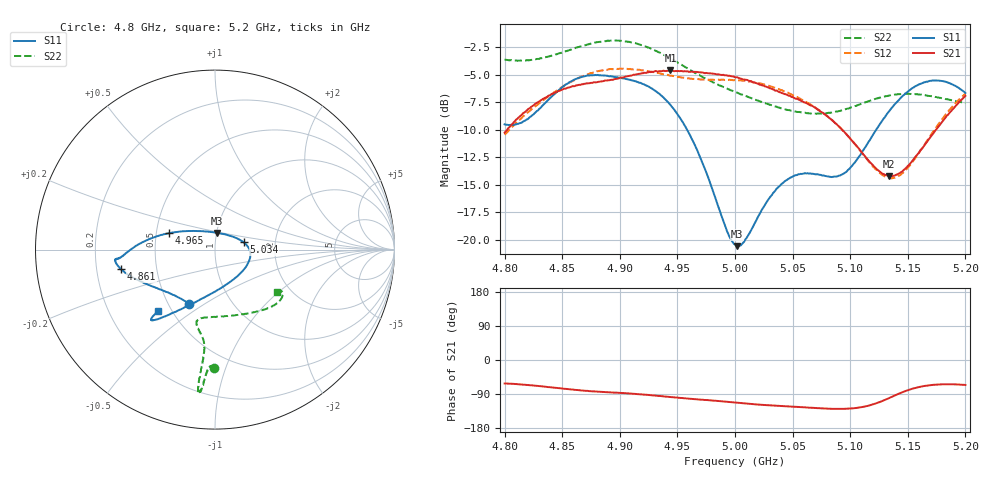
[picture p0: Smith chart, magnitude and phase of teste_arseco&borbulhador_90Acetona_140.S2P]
! Network Analyzer HP8722D
! Hewlett-Packard
! Data name: Linha & Wilkinson
! Saver's name: Rodrigo Anjos
! Comments: Teste da utilização de aquisição
! continua pelo VNA HP8722D
! Time and date: 17/4/2025 12:13
!  Frequency  S11  S21  S12  S22
# HZ  S  MA R 50
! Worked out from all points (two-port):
!   401 points, 4.8 GHz to 5.2 GHz, reference 50 ohm
!   highest |S21| = -4.63 dB at 4.944 GHz (marker M1); lowest = -14.2 dB at 5.134 GHz (marker M2)
!   |S21| within 3 dB of the highest: 4.827 GHz to 5.063 GHz (235.6 MHz wide, 4.77 % of centre); 5.193448 GHz to end of sweep
!   lowest |S11| = -20.6 dB at 5.002 GHz (marker M3), VSWR 1.21, Z = 50.3 + j9.44 ohm
!   |S11| at or under -10 dB: 4.958 GHz to 5.123 GHz (164.2 MHz wide, 3.26 % of centre)
!   |S22| runs from -8.6 to -1.9 dB; largest |S21 - S12| = 0.88
!   S11 on the Smith chart (normalised r, x): 4.8 GHz: 0.63, -0.43; 4.861 GHz: 0.31, -0.09; 4.965 GHz: 0.59, +0.12; 5.034 GHz: 1.38, +0.11; 5.2 GHz: 0.42, -0.37
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4.8e9  0.3344 -116.1  0.3064 -61.9  0.3005 -176.2  0.6574 -90.7
4.819e9  0.3514 -136.2  0.386 -65.8  0.3742 -175.3  0.6526 -92.3
4.861e9  0.5351 -168.1  0.4987 -78.8  0.5328 -178.7  0.7403 -94.9
4.867e9  0.5483 -170.5  0.5088 -80.5  0.5498 -179.7  0.7578 -95.0
4.899e9  0.5443 -174.8  0.5398 -86.7  0.5968 173.9  0.8009 -96.5
4.934e9  0.4615 179.2  0.5822 -94.9  0.5709 170.5  0.7086 -96.8
4.944e9  0.4094 174.5  0.5868 -97.7  0.5558 170.7  0.6664 -96.6
4.965e9  0.2706 160.2  0.5786 -103.4  0.5359 172.6  0.5734 -96.0
4.993e9  0.1098 114.1  0.5578 -110.5  0.5322 174.8  0.486 -98.7
5e9  0.09536 89.9  0.5464 -112.4  0.5312 174.8  0.4683 -100.1
5.002e9  0.09377 82.5  0.5464 -112.9  0.5284 174.8  0.4654 -100.7
5.009e9  0.1006 59.0  0.5332 -114.8  0.5267 174.6  0.4494 -102.0
5.034e9  0.1653 14.2  0.4792 -120.5  0.4912 173.5  0.4044 -103.9
5.05e9  0.1937 -1.4  0.4445 -123.2  0.4536 173.0  0.3846 -99.2
5.067e9  0.1997 -19.6  0.4057 -126.1  0.4075 172.6  0.376 -89.7
5.097e9  0.2044 -72.4  0.3005 -128.6  0.3003 174.6  0.3932 -66.3
5.121e9  0.3067 -109.6  0.2143 -116.1  0.2124 -170.9  0.4348 -49.8
5.134e9  0.3847 -120.0  0.195 -100.1  0.1912 -153.1  0.4523 -43.3
5.148e9  0.4618 -126.6  0.2114 -81.9  0.207 -132.1  0.4602 -38.0
5.167e9  0.5217 -131.2  0.2797 -67.4  0.283 -114.0  0.4513 -33.3
5.183e9  0.5215 -132.8  0.3598 -64.1  0.371 -108.5  0.4352 -32.0
5.2e9  0.4638 -132.9  0.4497 -66.0  0.4599 -108.2  0.4177 -34.6
